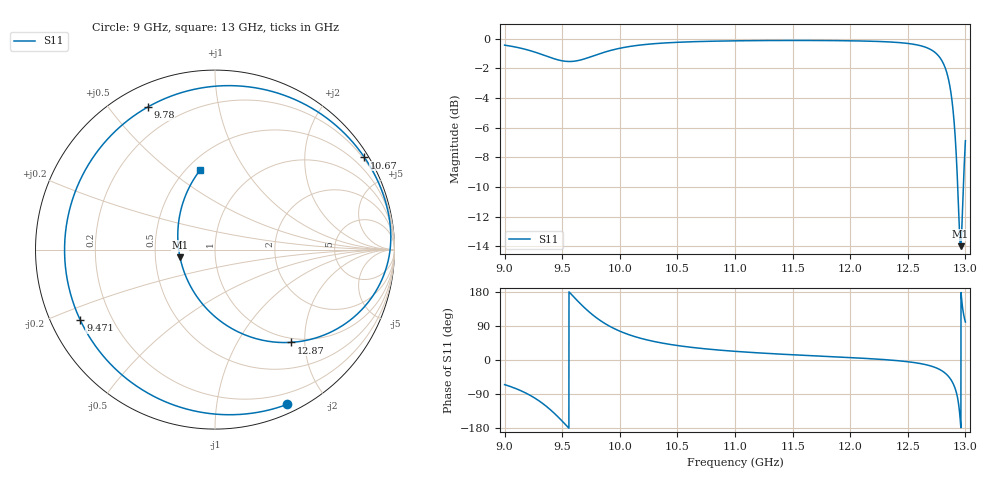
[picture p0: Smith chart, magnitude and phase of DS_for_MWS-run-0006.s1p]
! TOUCHSTONE file generated by CST DESIGN STUDIO
! Date and time: Tue Feb  4 18:04:00 2025
! Project name: C:\Work\MatlabApps\UnitCellOptimizationMatlab\CST\unitcell.cst
! Tree item: Tasks\Sweep1\SPara1\S-Parameters
! Header version: 2024
! Port assignment regex: !\s*Touchstone port\s*([0-9]+)\s*=\s*(CST MWS port|CST DES external port|CST DES block port)\s*(.+)\s* \(\"(.*)\"\)(\s*mode\s*([0-9]+))?.*
! Touchstone port assignment:
! Touchstone port 1 = CST DES external port 1 ("")
# GHz S MA R 50
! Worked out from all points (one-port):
!   4001 points, 9 GHz to 13 GHz, reference 50 ohm
!   lowest |S11| = -14.0 dB at 12.96 GHz (marker M1), VSWR 1.50, Z = 33.6 - j2.99 ohm
!   |S11| at or under -10 dB: 12.93334 GHz to 12.98227 GHz (48.93 MHz wide, 0.378 % of centre)
!   S11 on the Smith chart (normalised r, x): 9 GHz: 0.09, -1.57; 9.471 GHz: 0.09, -0.24; 9.78 GHz: 0.09, +0.63; 10.67 GHz: 0.15, +3.52; 12.87 GHz: 0.92, -1.72; 13 GHz: 0.58, +0.65
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9  0.9517 -64.9
9.137  0.9301 -80.4
9.279  0.8974 -103.8
9.377  0.8702 -125.9
9.471  0.8474 -152.3
9.5  0.8426 -161.3
9.561  0.8382 179.1
9.622  0.842 159.5
9.703  0.8577 135.2
9.78  0.8781 115.3
9.878  0.9037 94.9
10  0.9289 76.1
10.217  0.9562 54.4
10.5  0.973 38.2
10.673  0.9784 31.7
11  0.9841 22.9
11.5  0.987 13.8
12  0.9844 6.4
12.5  0.9644 -4.6
12.653  0.9368 -12.1
12.751  0.889 -21.3
12.819  0.8083 -33.3
12.872  0.6674 -50.8
12.917  0.4306 -80.8
12.944  0.2465 -123.3
12.958  0.1997 -167.7
12.984  0.3294 121.4
13  0.4529 100.3
